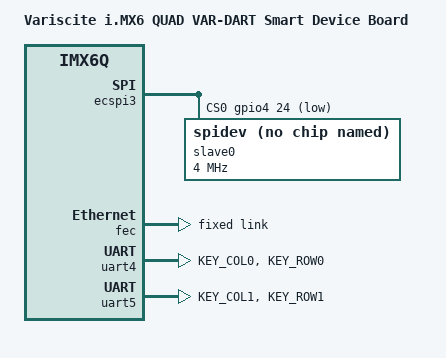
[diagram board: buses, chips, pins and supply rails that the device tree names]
/*
 * Copyright (C) 2015-2017 Variscite Ltd.
 *
 * This program is free software; you can redistribute it and/or modify
 * it under the terms of the GNU General Public License version 2 as
 * published by the Free Software Foundation.
 */

/dts-v1/;

#include "imx6q.dtsi"
#include "imx6qdl-var-dart.dtsi"
#include "imx6qdl-var-solocb-dt6cb-displays.dtsi"
#include "imx6qdl-var-dt6cb-buttons.dtsi"

/ {
	model = "Variscite i.MX6 QUAD VAR-DART Smart Device Board";
	compatible = "fsl,imx6q-var-dart", "fsl,imx6q";
	/*
	leds {
		compatible = "gpio-leds";
		fdti_reset {
			gpios = <&gpio1 3 1>;
		};
	};
	*/
};

&cpu0 {
	operating-points = <
		/* kHz    uV */
		1200000	1350000
		996000	1250000
		852000	1250000
		792000	1175000
		396000	1175000
	>;
	fsl,soc-operating-points = <
		/* ARM kHz  SOC-PU uV */
		1200000	1275000
		996000	1250000
		852000	1250000
		792000	1250000
		396000	1250000
	>;
};

&ldb {
	lvds-channel@0 {
		crtc = "ipu2-di0";
	};

	lvds-channel@1 {
		crtc = "ipu2-di1";
	};
};

&touch {
    status = "disabled";
	interrupt-parent = <&gpio1>;
	interrupts = <4 0>;
};

&mxcfb1 {
	status = "disabled";
};

&mxcfb2 {
	status = "disabled";
};

&mxcfb3 {
	status = "disabled";
};

&mxcfb4 {
	status = "disabled";
};

&sata {
	status = "disabled";
};

&hdmi_video {
	status = "disabled";
};

&mipi_csi {
	status = "disabled";
};

&ecspi3 {
	pinctrl-names = "default";
	pinctrl-0 = <&pinctrl_ecspi3_1>;
	status = "okay";
	num-cs = <1>;
	fsl,spi-num-chipselects = <1>;
	cs-gpios = <&gpio4 24 1>;
	slave0@0 {
		compatible = "rohm,dh2228fv";
		spi-max-frequency = <4000000>;
		reg = <0 0>;
	};
/*
	spidev@0x00 {
                compatible = "spidev";
                spi-max-frequency = <10000000>;
                reg = <0>;
        };
*/
/*MX6QDL_PAD_DISP0_DAT3__ECSPI3_SS0*/
};

&fec {
	/delete-property/ phy-reset-gpios;
   status = "okay";
   label = "fec";
   
   fixed-link {
         speed = <1000>;
         full-duplex;
   };
};

//remove CLKO2 from hog, used as GPIO for FTDI nReset
&pinctrl_hog {
	fsl,pins = <
		/* PMIC INT */
		MX6QDL_PAD_GPIO_17__GPIO7_IO12		0x80000000
		/* for Bluetooth/wifi enable */
		MX6QDL_PAD_SD3_DAT6__GPIO6_IO18		0x1b0b1
		/* Wifi Slow Clock */
		MX6QDL_PAD_ENET_RXD0__OSC32K_32K_OUT	0x000b0
		/* Audio Clock */
		MX6QDL_PAD_GPIO_0__CCM_CLKO1		0x130b0
	>;
};

&iomuxc {
	imx6qdl-var-som-mx6 {
		pinctrl_uart5: uart5grp-1 {
			fsl,pins = <
				MX6QDL_PAD_KEY_COL1__UART5_TX_DATA	0x1b0b1
				MX6QDL_PAD_KEY_ROW1__UART5_RX_DATA	0x1b0b1
			>;
		};
		pinctrl_uart4: uart4grp-1 {
				fsl,pins = <
					MX6QDL_PAD_KEY_COL0__UART4_TX_DATA	0x1b0b1
					MX6QDL_PAD_KEY_ROW0__UART4_RX_DATA	0x1b0b1
				>;
		};
	};
};

/* Bluetooth Uart */
&uart2 {
	status = "disabled";
};

&uart4 {
	pinctrl-names = "default";
	pinctrl-0 = <&pinctrl_uart4>;
	status = "okay"; 
};

&uart5 {
	pinctrl-names = "default";
	pinctrl-0 = <&pinctrl_uart5>;
	status = "okay"; 
};

